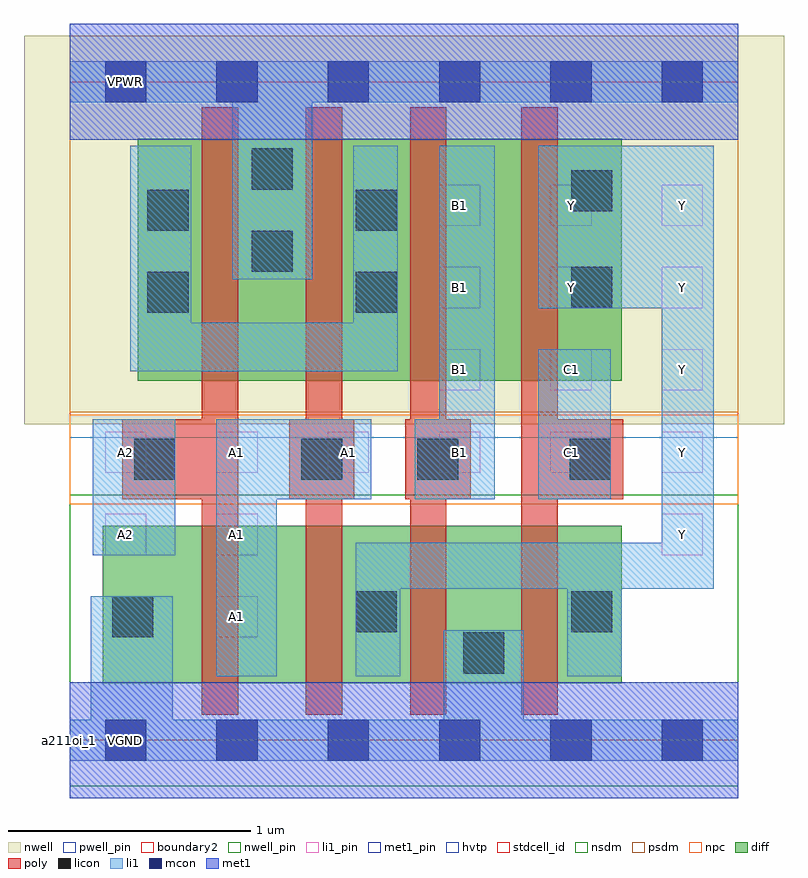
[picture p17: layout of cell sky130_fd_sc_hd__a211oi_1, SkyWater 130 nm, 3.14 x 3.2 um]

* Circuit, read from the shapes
.subckt sky130_fd_sc_hd__a211oi_1 A1 A2 B1 C1 VGND VNB VPB VPWR Y
XM1 n1 A2 VGND VNB sky130_fd_pr__nfet_01v8 w=0.65 l=0.15
XM2 Y A1 n1 VNB sky130_fd_pr__nfet_01v8 w=0.65 l=0.15
XM3 VGND B1 Y VNB sky130_fd_pr__nfet_01v8 w=0.65 l=0.15
XM4 Y C1 VGND VNB sky130_fd_pr__nfet_01v8 w=0.65 l=0.15
XM5 VPWR A2 n2 VPB sky130_fd_pr__pfet_01v8_hvt w=1 l=0.15
XM6 n2 A1 VPWR VPB sky130_fd_pr__pfet_01v8_hvt w=1 l=0.15
XM7 n3 B1 n2 VPB sky130_fd_pr__pfet_01v8_hvt w=1 l=0.15
XM8 Y C1 n3 VPB sky130_fd_pr__pfet_01v8_hvt w=1 l=0.15
.ends

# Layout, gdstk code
import gdstk
lib = gdstk.Library(unit=1e-6, precision=1e-09)
def R(c, l, rs):  # rectangles x0, y0, x1, y1
    for r in rs: c.add(gdstk.rectangle(r[:2], r[2:], *l))
def A(c, l, x, y, w, h, nx, ny, dx, dy):  # array of equal rectangles
    R(c, l, [(x+i*dx, y+j*dy, x+i*dx+w, y+j*dy+h) for i in range(nx) for j in range(ny)])
def P(c, l, *ps):  # polygons
    for p in ps: c.add(gdstk.Polygon(p, *l))
nwell_pin = (64, 16)
nwell = (64, 20)
diff = (65, 20)
poly = (66, 20)
licon = (66, 44)
li1_pin = (67, 16)
li1 = (67, 20)
mcon = (67, 44)
met1_pin = (68, 16)
met1 = (68, 20)
hvtp = (78, 44)
stdcell_id = (81, 4)
nsdm = (93, 44)
psdm = (94, 20)
npc = (95, 20)
pwell_pin = (122, 16)
boundary2 = (236, 0)

sky130_fd_sc_hd__a211oi_ = lib.new_cell('sky130_fd_sc_hd__a211oi_1')
R(sky130_fd_sc_hd__a211oi_, nwell_pin, [(0.145,2.635,0.315,2.805)])
R(sky130_fd_sc_hd__a211oi_, nwell, [(-0.19,1.305,2.95,2.91)])
R(sky130_fd_sc_hd__a211oi_, diff, [(0.135,0.235,2.28,0.885), (0.28,1.485,2.28,2.485)])
P(sky130_fd_sc_hd__a211oi_, poly, [(0.695,2.615),(0.545,2.615),(0.545,1.325),(0.215,1.325),(0.215,0.995),(0.545,0.995),(0.545,0.105),(0.695,0.105)],
  [(1.175,1.325),(1.125,1.325),(1.125,2.615),(0.975,2.615),(0.975,1.325),(0.905,1.325),(0.905,0.995),(0.975,0.995),(0.975,0.105),(1.125,0.105),(1.125,0.995),(1.175,0.995)],
  [(2.285,1.325),(2.015,1.325),(2.015,2.615),(1.865,2.615),(1.865,0.105),(2.015,0.105),(2.015,0.995),(2.285,0.995)],
  [(1.655,1.325),(1.555,1.325),(1.555,2.615),(1.405,2.615),(1.405,1.325),(1.385,1.325),(1.385,0.995),(1.405,0.995),(1.405,0.105),(1.555,0.105),(1.555,0.995),(1.655,0.995)])
R(sky130_fd_sc_hd__a211oi_, licon, [(1.625,0.275,1.795,0.445), (0.175,0.425,0.345,0.595), (1.18,0.445,1.35,0.615), (2.07,0.445,2.24,0.615), (0.265,1.075,0.435,1.245), (0.955,1.075,1.125,1.245), (1.435,1.075,1.605,1.245), (2.065,1.075,2.235,1.245), (0.32,1.765,0.49,1.935), (1.18,1.765,1.35,1.935), (2.07,1.785,2.24,1.955), (0.75,1.935,0.92,2.105), (0.32,2.105,0.49,2.275), (1.18,2.105,1.35,2.275), (2.07,2.185,2.24,2.355), (0.75,2.275,0.92,2.445)])
A(sky130_fd_sc_hd__a211oi_, li1_pin, 0.145, 1.105, 0.17, 0.17, 6, 1, 0.46, 0)
A(sky130_fd_sc_hd__a211oi_, li1_pin, 1.525, 1.445, 0.17, 0.17, 3, 3, 0.46, 0.34)
R(sky130_fd_sc_hd__a211oi_, li1_pin, [(0.605,0.425,0.775,0.595), (0.145,0.765,0.315,0.935), (0.605,0.765,0.775,0.935), (2.445,0.765,2.615,0.935)])
R(sky130_fd_sc_hd__a211oi_, li1, [(0.095,0.765,0.435,1.325), (1.935,0.995,2.235,1.615)])
P(sky130_fd_sc_hd__a211oi_, li1, [(2.76,2.805),(0,2.805),(0,2.635),(0.67,2.635),(0.67,1.905),(1,1.905),(1,2.635),(2.76,2.635)],
  [(2.76,0.085),(1.875,0.085),(1.875,0.455),(1.545,0.455),(1.545,0.085),(0.425,0.085),(0.425,0.595),(0.085,0.595),(0.085,0.085),(0,0.085),(0,-0.085),(2.76,-0.085)],
  [(1.755,2.455),(1.525,2.455),(1.525,1.325),(1.425,1.325),(1.425,0.995),(1.755,0.995)],
  [(1.245,1.325),(0.605,1.325),(0.605,0.265),(0.855,0.265),(0.855,0.995),(1.245,0.995)],
  [(1.355,2.455),(1.17,2.455),(1.17,1.725),(0.5,1.725),(0.5,2.455),(0.25,2.455),(0.25,1.525),(1.355,1.525)],
  [(2.66,2.455),(1.935,2.455),(1.935,1.785),(2.445,1.785),(2.445,0.815),(1.18,0.815),(1.18,0.265),(1.365,0.265),(1.365,0.625),(2.055,0.625),(2.055,0.265),(2.28,0.265),(2.28,0.625),(2.66,0.625)])
A(sky130_fd_sc_hd__a211oi_, mcon, 0.145, -0.085, 0.17, 0.17, 6, 2, 0.46, 2.72)
R(sky130_fd_sc_hd__a211oi_, met1_pin, [(0.145,-0.085,0.315,0.085), (0.145,2.635,0.315,2.805)])
R(sky130_fd_sc_hd__a211oi_, hvtp, [(0,1.25,2.76,2.72)])
R(sky130_fd_sc_hd__a211oi_, stdcell_id, [(0,0,2.76,2.72)])
R(sky130_fd_sc_hd__a211oi_, nsdm, [(0,-0.19,2.76,1.015)])
R(sky130_fd_sc_hd__a211oi_, psdm, [(0,1.355,2.76,2.91)])
R(sky130_fd_sc_hd__a211oi_, npc, [(0,0.975,2.76,1.345)])
R(sky130_fd_sc_hd__a211oi_, pwell_pin, [(0.145,-0.085,0.315,0.085)])
R(sky130_fd_sc_hd__a211oi_, boundary2, [(0,0,2.76,2.72)])
sky130_fd_sc_hd__a211oi_.add(gdstk.FlexPath([(0,0),(2.76,0)], 0.48, ends="flush", simple_path=True, layer=68, datatype=20))  # met1
sky130_fd_sc_hd__a211oi_.add(gdstk.FlexPath([(0,2.72),(2.76,2.72)], 0.48, ends="flush", simple_path=True, layer=68, datatype=20))  # met1
sky130_fd_sc_hd__a211oi_.add(gdstk.Label('A1', (0.69,0.85), layer=67, texttype=5))
sky130_fd_sc_hd__a211oi_.add(gdstk.Label('C1', (2.07,1.19), layer=67, texttype=5))
sky130_fd_sc_hd__a211oi_.add(gdstk.Label('A1', (1.15,1.19), layer=67, texttype=5))
sky130_fd_sc_hd__a211oi_.add(gdstk.Label('B1', (1.61,1.19), layer=67, texttype=5))
sky130_fd_sc_hd__a211oi_.add(gdstk.Label('Y', (2.53,2.21), layer=67, texttype=5))
sky130_fd_sc_hd__a211oi_.add(gdstk.Label('Y', (2.53,1.87), layer=67, texttype=5))
sky130_fd_sc_hd__a211oi_.add(gdstk.Label('Y', (2.53,1.53), layer=67, texttype=5))
sky130_fd_sc_hd__a211oi_.add(gdstk.Label('Y', (2.53,1.19), layer=67, texttype=5))
sky130_fd_sc_hd__a211oi_.add(gdstk.Label('Y', (2.53,0.85), layer=67, texttype=5))
sky130_fd_sc_hd__a211oi_.add(gdstk.Label('Y', (2.07,2.21), layer=67, texttype=5))
sky130_fd_sc_hd__a211oi_.add(gdstk.Label('Y', (2.07,1.87), layer=67, texttype=5))
sky130_fd_sc_hd__a211oi_.add(gdstk.Label('A2', (0.23,1.19), layer=67, texttype=5))
sky130_fd_sc_hd__a211oi_.add(gdstk.Label('A1', (0.69,0.51), layer=67, texttype=5))
sky130_fd_sc_hd__a211oi_.add(gdstk.Label('A2', (0.23,0.85), layer=67, texttype=5))
sky130_fd_sc_hd__a211oi_.add(gdstk.Label('A1', (0.69,1.19), layer=67, texttype=5))
sky130_fd_sc_hd__a211oi_.add(gdstk.Label('B1', (1.61,1.53), layer=67, texttype=5))
sky130_fd_sc_hd__a211oi_.add(gdstk.Label('B1', (1.61,1.87), layer=67, texttype=5))
sky130_fd_sc_hd__a211oi_.add(gdstk.Label('B1', (1.61,2.21), layer=67, texttype=5))
sky130_fd_sc_hd__a211oi_.add(gdstk.Label('C1', (2.07,1.53), layer=67, texttype=5))
sky130_fd_sc_hd__a211oi_.add(gdstk.Label('VPWR', (0.23,2.72), layer=68, texttype=5))
sky130_fd_sc_hd__a211oi_.add(gdstk.Label('VGND', (0.23,0), layer=68, texttype=5))
sky130_fd_sc_hd__a211oi_.add(gdstk.Label('VPB', (0.23,2.72), layer=64, texttype=5))
sky130_fd_sc_hd__a211oi_.add(gdstk.Label('VNB', (0.23,0), layer=64, texttype=59))
sky130_fd_sc_hd__a211oi_.add(gdstk.Label('a211oi_1', (0,0), layer=83, texttype=44))

lib.write_gds('sky130_fd_sc_hd__a211oi_1.gds')
